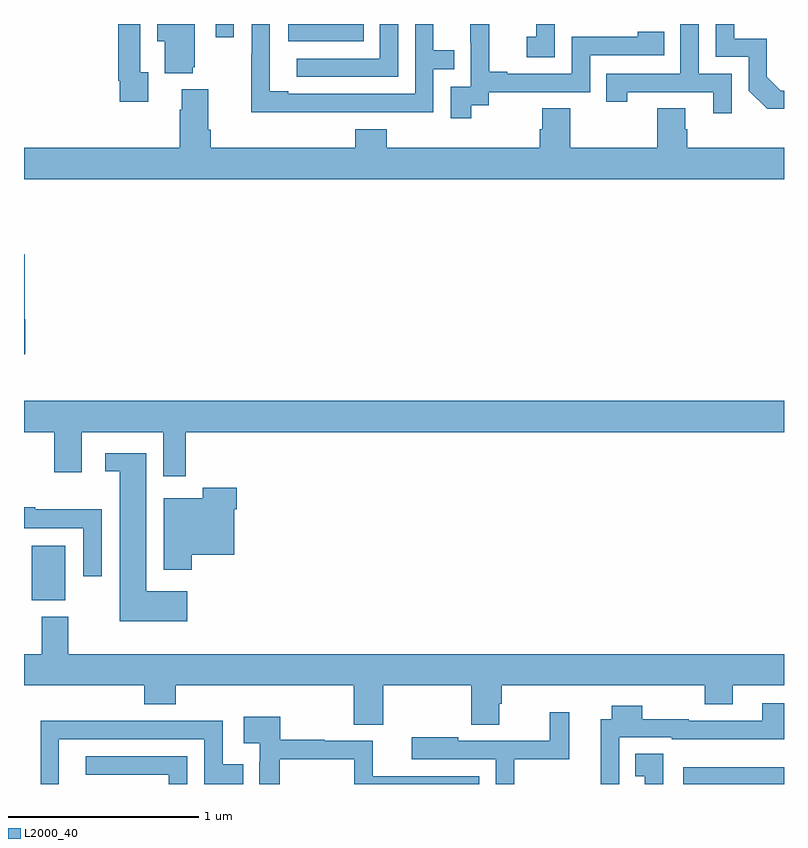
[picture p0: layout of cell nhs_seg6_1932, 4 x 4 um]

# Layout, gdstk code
import gdstk
lib = gdstk.Library(unit=1e-6, precision=1e-09)
def R(c, l, rs):  # rectangles x0, y0, x1, y1
    for r in rs: c.add(gdstk.rectangle(r[:2], r[2:], *l))
def P(c, l, *ps):  # polygons
    for p in ps: c.add(gdstk.Polygon(p, *l))
L2000_40 = (2000, 40)

nhs_seg6_1932 = lib.new_cell('nhs_seg6_1932')
R(nhs_seg6_1932, L2000_40, [(230.469,929.5,231,929.587), (227.042,930.467,227.218,930.754), (228.392,933.41,228.788,933.5), (228.009,933.429,228.105,933.5)])
P(nhs_seg6_1932, L2000_40, [(229.794,933.5),(229.696,933.5),(229.696,933.433),(229.647,933.433),(229.647,933.324),(229.794,933.324)],
  [(228.659,933.036),(229.155,933.036),(229.155,933.261),(229.265,933.261),(229.265,933.362),(229.155,933.362),(229.155,933.5),(229.059,933.5),(229.059,933.132),(228.391,933.132),(228.391,933.145),(228.294,933.145),(228.294,933.5),(228.198,933.5),(228.198,933.341),(228.196,933.341),(228.196,933.035),(228.659,933.035)],
  [(229.354,933.073),(229.446,933.073),(229.446,933.141),(229.98,933.141),(229.98,933.336),(230.369,933.336),(230.369,933.459),(230.229,933.459),(230.229,933.432),(229.884,933.432),(229.884,933.237),(229.543,933.237),(229.543,933.25),(229.448,933.25),(229.448,933.5),(229.349,933.5),(229.349,933.401),(229.35,933.401),(229.35,933.171),(229.245,933.171),(229.245,933.003),(229.354,933.003)],
  [(227.653,933.246),(227.613,933.246),(227.613,933.5),(227.497,933.5),(227.497,933.202),(227.505,933.202),(227.505,933.09),(227.653,933.09)],
  [(228.969,933.5),(228.873,933.5),(228.873,933.318),(228.435,933.318),(228.435,933.222),(228.969,933.222)],
  [(231,933.15),(230.982,933.15),(230.91,933.222),(230.91,933.423),(230.737,933.423),(230.737,933.5),(230.64,933.5),(230.64,933.327),(230.814,933.327),(230.814,933.15),(230.912,933.053),(231,933.053)],
  [(227.888,933.273),(227.899,933.273),(227.899,933.5),(227.702,933.5),(227.702,933.41),(227.741,933.41),(227.741,933.242),(227.888,933.242)],
  [(230.724,933.237),(230.55,933.237),(230.55,933.5),(230.454,933.5),(230.454,933.237),(230.065,933.237),(230.065,933.09),(230.176,933.09),(230.176,933.141),(230.627,933.141),(230.627,933.03),(230.724,933.03)],
  [(230.332,933.056),(230.332,932.848),(229.875,932.848),(229.875,933.056),(229.727,933.056),(229.727,932.946),(229.715,932.946),(229.715,932.848),(228.908,932.848),(228.908,932.947),(228.743,932.947),(228.743,932.848),(227.984,932.848),(227.984,932.944),(227.971,932.944),(227.971,933.157),(227.831,933.157),(227.831,933.05),(227.819,933.05),(227.819,932.848),(227,932.848),(227,932.684),(231,932.684),(231,932.848),(230.492,932.848),(230.492,932.946),(230.479,932.946),(230.479,933.056)],
  [(227.006,931.764),(227.006,931.946),(227.003,931.946),(227.003,932.289),(227,932.289),(227,931.758)],
  [(227.851,931.352),(231,931.352),(231,931.516),(227,931.516),(227,931.352),(227.158,931.352),(227.158,931.14),(227.305,931.14),(227.305,931.352),(227.732,931.352),(227.732,931.119),(227.851,931.119)],
  [(227.86,930.514),(227.644,930.514),(227.644,931.242),(227.427,931.242),(227.427,931.145),(227.504,931.145),(227.504,930.356),(227.86,930.356)],
  [(227.882,930.707),(228.106,930.707),(228.106,930.947),(228.119,930.947),(228.119,931.06),(227.941,931.06),(227.941,931.003),(227.735,931.003),(227.735,930.627),(227.882,930.627)],
  [(227.409,930.946),(227.06,930.946),(227.06,930.956),(227,930.956),(227,930.845),(227.313,930.845),(227.313,930.594),(227.409,930.594)],
  [(228.891,930.02),(229.354,930.02),(229.354,929.812),(229.501,929.812),(229.501,929.922),(229.514,929.922),(229.514,930.02),(230.584,930.02),(230.584,929.921),(230.731,929.921),(230.731,930.02),(231,930.02),(231,930.184),(227.233,930.184),(227.233,930.379),(227.093,930.379),(227.093,930.184),(227,930.184),(227,930.02),(227.633,930.02),(227.633,929.921),(227.798,929.921),(227.798,930.02),(228.736,930.02),(228.736,929.812),(228.891,929.812)],
  [(230.133,929.745),(230.409,929.745),(230.409,929.735),(231,929.735),(231,929.925),(230.885,929.925),(230.885,929.832),(230.499,929.832),(230.499,929.842),(230.253,929.842),(230.253,929.911),(230.093,929.911),(230.093,929.841),(230.036,929.841),(230.036,929.5),(230.133,929.5)],
  [(229.579,929.63),(229.87,929.63),(229.87,929.878),(229.768,929.878),(229.768,929.727),(229.285,929.727),(229.285,929.746),(229.041,929.746),(229.041,929.631),(229.482,929.631),(229.482,929.5),(229.579,929.5)],
  [(228.346,929.63),(228.737,929.63),(228.737,929.5),(229.397,929.5),(229.397,929.541),(228.836,929.541),(228.836,929.727),(228.582,929.727),(228.582,929.732),(228.349,929.732),(228.349,929.854),(228.156,929.854),(228.156,929.714),(228.24,929.714),(228.24,929.618),(228.239,929.618),(228.239,929.5),(228.346,929.5)],
  [(227.184,929.736),(227.949,929.736),(227.949,929.5),(228.154,929.5),(228.154,929.604),(228.045,929.604),(228.045,929.832),(227.549,929.832),(227.549,929.834),(227.088,929.834),(227.088,929.5),(227.184,929.5)],
  [(230.364,929.66),(230.218,929.66),(230.218,929.542),(230.267,929.542),(230.267,929.5),(230.364,929.5)],
  [(227.859,929.646),(227.325,929.646),(227.325,929.55),(227.763,929.55),(227.763,929.5),(227.859,929.5)])

lib.write_gds('nhs_seg6_1932.gds')
